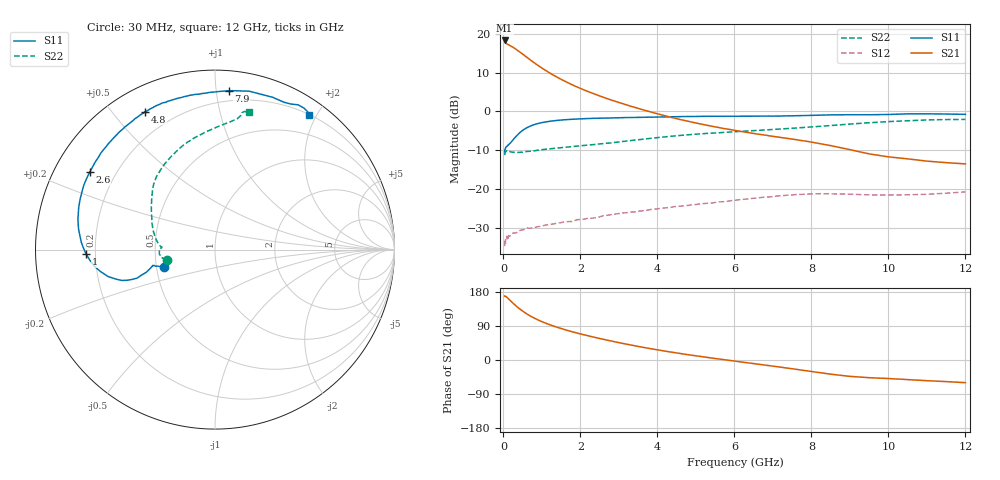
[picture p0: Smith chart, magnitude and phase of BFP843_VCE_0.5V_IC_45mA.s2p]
! Infineon Technologies  Discrete & RF Semiconductors
! BFP843
! VCE =  0.5 V,  IC =  45 mA
! Common Emitter S-Parameters:  Aug 2013
# GHz  S  MA  R  50
!  f  S11  S21  S12  S22
! GHz  MAG  ANG  MAG  ANG  MAG  ANG  MAG  ANG
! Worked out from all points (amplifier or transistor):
!   103 points, 30 MHz to 12 GHz, reference 50 ohm
!   highest |S21| = 18.2 dB at 30 MHz (marker M1)
!   |S21| within 3 dB of that: start of sweep to 429.1 MHz
!   unconditionally stable (mu >= 1): start of sweep to end of sweep
!   at 400 MHz: K = 2.13, MAG = 17.0 dB, |S12| = -30.7 dB
!   at 3.7 GHz: K = 2.43, MAG = 6.1 dB, |S12| = -25.4 dB
!   at 12 GHz: K = 2.10, MAG = -2.4 dB, |S12| = -20.7 dB
!   S11 on the Smith chart (normalised r, x): 30 MHz: 0.55, -0.12; 1 GHz: 0.16, -0.02; 2.6 GHz: 0.11, +0.28; 4.8 GHz: 0.10, +0.61; 7.9 GHz: 0.13, +1.08; 12 GHz: 0.20, +1.90
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0.03  0.3027 -161.4  8.158 168.7  0.0186 29.7  0.2748 -168.1
0.04  0.3253 -163.3  7.862 168.0  0.0222 24.0  0.2914 -170.1
0.05  0.3329 -164.0  7.709 168.5  0.0202 22.1  0.3031 -172.0
0.07  0.3489 -165.3  7.45 167.1  0.0241 14.4  0.3093 -174.7
0.25  0.4322 -160.9  6.675 149.7  0.0276 14.9  0.2997 178.0
0.35  0.4911 -160.2  6.162 140.7  0.0279 16.5  0.2958 177.5
0.45  0.5473 -161.7  5.682 132.7  0.0299 15.7  0.2991 177.4
0.6  0.6148 -165.9  4.991 122.1  0.0318 16.9  0.3055 176.2
0.7  0.6488 -169.1  4.582 115.9  0.0316 16.6  0.3086 175.6
1  0.7183 -178.0  3.605 101.1  0.0338 17.6  0.3226 172.7
1.4  0.7674 171.8  2.746 86.2  0.0368 20.3  0.3391 168.7
1.7  0.788 165.1  2.305 77.0  0.0385 20.7  0.3503 165.4
2.1  0.8065 157.2  1.882 66.3  0.0413 20.9  0.366 161.1
2.6  0.8206 148.2  1.518 54.5  0.0458 20.6  0.3862 155.5
3.3  0.8349 136.7  1.17 39.7  0.051 19.8  0.4224 147.0
4.1  0.8486 125.0  0.905 25.1  0.0569 17.4  0.4667 138.6
4.8  0.8611 116.8  0.747 13.9  0.0621 14.9  0.5015 132.8
6.1  0.8671 105.1  0.561 -4.2  0.0732 9.0  0.5525 120.7
7.9  0.8881 85.1  0.412 -28.8  0.0867 -5.9  0.6277 101.9
8.5  0.9029 77.8  0.364 -37.4  0.0875 -11.9  0.6584 94.3
10.5  0.9305 60.1  0.246 -51.7  0.085 -21.5  0.759 79.2
12  0.9169 55.0  0.212 -59.8  0.0926 -28.2  0.7895 76.1
